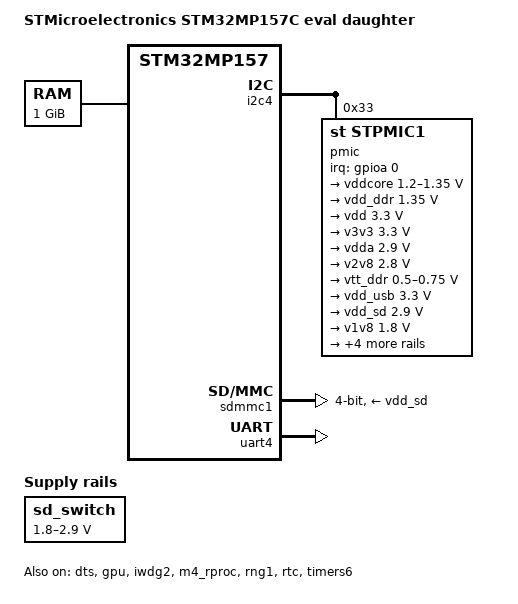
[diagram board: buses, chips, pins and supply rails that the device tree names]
// SPDX-License-Identifier: (GPL-2.0+ OR BSD-3-Clause)
/*
 * Copyright (C) STMicroelectronics 2017 - All Rights Reserved
 * Author: Ludovic Barre <ludovic.barre@st.com> for STMicroelectronics.
 */
/dts-v1/;

#include "stm32mp157c.dtsi"
#include "stm32mp157xaa-pinctrl.dtsi"
#include <dt-bindings/gpio/gpio.h>
#include <dt-bindings/mfd/st,stpmic1.h>

/ {
	model = "STMicroelectronics STM32MP157C eval daughter";
	compatible = "st,stm32mp157c-ed1", "st,stm32mp157";

	chosen {
		stdout-path = "serial0:115200n8";
	};

	memory@c0000000 {
		device_type = "memory";
		reg = <0xC0000000 0x40000000>;
	};

	reserved-memory {
		#address-cells = <1>;
		#size-cells = <1>;
		ranges;

		mcuram2: mcuram2@10000000 {
			compatible = "shared-dma-pool";
			reg = <0x10000000 0x40000>;
			no-map;
		};

		vdev0vring0: vdev0vring0@10040000 {
			compatible = "shared-dma-pool";
			reg = <0x10040000 0x1000>;
			no-map;
		};

		vdev0vring1: vdev0vring1@10041000 {
			compatible = "shared-dma-pool";
			reg = <0x10041000 0x1000>;
			no-map;
		};

		vdev0buffer: vdev0buffer@10042000 {
			compatible = "shared-dma-pool";
			reg = <0x10042000 0x4000>;
			no-map;
		};

		mcuram: mcuram@30000000 {
			compatible = "shared-dma-pool";
			reg = <0x30000000 0x40000>;
			no-map;
		};

		retram: retram@38000000 {
			compatible = "shared-dma-pool";
			reg = <0x38000000 0x10000>;
			no-map;
		};

		gpu_reserved: gpu@e8000000 {
			reg = <0xe8000000 0x8000000>;
			no-map;
		};
	};

	aliases {
		serial0 = &uart4;
	};

	sd_switch: regulator-sd_switch {
		compatible = "regulator-gpio";
		regulator-name = "sd_switch";
		regulator-min-microvolt = <1800000>;
		regulator-max-microvolt = <2900000>;
		regulator-type = "voltage";
		regulator-always-on;

		gpios = <&gpiof 14 GPIO_ACTIVE_HIGH>;
		gpios-states = <0>;
		states = <1800000 0x1>,
			 <2900000 0x0>;
	};
};

&dac {
	pinctrl-names = "default";
	pinctrl-0 = <&dac_ch1_pins_a &dac_ch2_pins_a>;
	vref-supply = <&vdda>;
	status = "disabled";
	dac1: dac@1 {
		status = "okay";
	};
	dac2: dac@2 {
		status = "okay";
	};
};

&dts {
	status = "okay";
};

&gpu {
	contiguous-area = <&gpu_reserved>;
	status = "okay";
};

&i2c4 {
	pinctrl-names = "default";
	pinctrl-0 = <&i2c4_pins_a>;
	i2c-scl-rising-time-ns = <185>;
	i2c-scl-falling-time-ns = <20>;
	status = "okay";
	/* spare dmas for other usage */
	/delete-property/dmas;
	/delete-property/dma-names;

	pmic: stpmic@33 {
		compatible = "st,stpmic1";
		reg = <0x33>;
		interrupts-extended = <&gpioa 0 IRQ_TYPE_EDGE_FALLING>;
		interrupt-controller;
		#interrupt-cells = <2>;
		status = "okay";

		regulators {
			compatible = "st,stpmic1-regulators";
			ldo1-supply = <&v3v3>;
			ldo2-supply = <&v3v3>;
			ldo3-supply = <&vdd_ddr>;
			ldo5-supply = <&v3v3>;
			ldo6-supply = <&v3v3>;
			pwr_sw1-supply = <&bst_out>;
			pwr_sw2-supply = <&bst_out>;

			vddcore: buck1 {
				regulator-name = "vddcore";
				regulator-min-microvolt = <1200000>;
				regulator-max-microvolt = <1350000>;
				regulator-always-on;
				regulator-initial-mode = <0>;
				regulator-over-current-protection;
			};

			vdd_ddr: buck2 {
				regulator-name = "vdd_ddr";
				regulator-min-microvolt = <1350000>;
				regulator-max-microvolt = <1350000>;
				regulator-always-on;
				regulator-initial-mode = <0>;
				regulator-over-current-protection;
			};

			vdd: buck3 {
				regulator-name = "vdd";
				regulator-min-microvolt = <3300000>;
				regulator-max-microvolt = <3300000>;
				regulator-always-on;
				st,mask-reset;
				regulator-initial-mode = <0>;
				regulator-over-current-protection;
			};

			v3v3: buck4 {
				regulator-name = "v3v3";
				regulator-min-microvolt = <3300000>;
				regulator-max-microvolt = <3300000>;
				regulator-always-on;
				regulator-over-current-protection;
				regulator-initial-mode = <0>;
			};

			vdda: ldo1 {
				regulator-name = "vdda";
				regulator-min-microvolt = <2900000>;
				regulator-max-microvolt = <2900000>;
				interrupts = <IT_CURLIM_LDO1 0>;
			};

			v2v8: ldo2 {
				regulator-name = "v2v8";
				regulator-min-microvolt = <2800000>;
				regulator-max-microvolt = <2800000>;
				interrupts = <IT_CURLIM_LDO2 0>;
			};

			vtt_ddr: ldo3 {
				regulator-name = "vtt_ddr";
				regulator-min-microvolt = <500000>;
				regulator-max-microvolt = <750000>;
				regulator-always-on;
				regulator-over-current-protection;
			};

			vdd_usb: ldo4 {
				regulator-name = "vdd_usb";
				regulator-min-microvolt = <3300000>;
				regulator-max-microvolt = <3300000>;
				interrupts = <IT_CURLIM_LDO4 0>;
			};

			vdd_sd: ldo5 {
				regulator-name = "vdd_sd";
				regulator-min-microvolt = <2900000>;
				regulator-max-microvolt = <2900000>;
				interrupts = <IT_CURLIM_LDO5 0>;
				regulator-boot-on;
			};

			v1v8: ldo6 {
				regulator-name = "v1v8";
				regulator-min-microvolt = <1800000>;
				regulator-max-microvolt = <1800000>;
				interrupts = <IT_CURLIM_LDO6 0>;
			};

			vref_ddr: vref_ddr {
				regulator-name = "vref_ddr";
				regulator-always-on;
				regulator-over-current-protection;
			};

			bst_out: boost {
				regulator-name = "bst_out";
				interrupts = <IT_OCP_BOOST 0>;
			};

			vbus_otg: pwr_sw1 {
				regulator-name = "vbus_otg";
				interrupts = <IT_OCP_OTG 0>;
			 };

			 vbus_sw: pwr_sw2 {
				regulator-name = "vbus_sw";
				interrupts = <IT_OCP_SWOUT 0>;
				regulator-active-discharge = <1>;
			 };
		};

		onkey {
			compatible = "st,stpmic1-onkey";
			interrupts = <IT_PONKEY_F 0>, <IT_PONKEY_R 0>;
			interrupt-names = "onkey-falling", "onkey-rising";
			power-off-time-sec = <10>;
			status = "okay";
		};

		watchdog {
			compatible = "st,stpmic1-wdt";
			status = "disabled";
		};
	};
};

&ipcc {
	status = "okay";
};

&iwdg2 {
	timeout-sec = <32>;
	status = "okay";
};

&m4_rproc {
	memory-region = <&retram>, <&mcuram>, <&mcuram2>, <&vdev0vring0>,
			<&vdev0vring1>, <&vdev0buffer>;
	mboxes = <&ipcc 0>, <&ipcc 1>, <&ipcc 2>;
	mbox-names = "vq0", "vq1", "shutdown";
	interrupt-parent = <&exti>;
	interrupts = <68 1>;
	status = "okay";
};

&pwr_regulators {
	vdd-supply = <&vdd>;
	vdd_3v3_usbfs-supply = <&vdd_usb>;
};

&rng1 {
	status = "okay";
};

&rtc {
	status = "okay";
};

&sdmmc1 {
	pinctrl-names = "default", "opendrain", "sleep";
	pinctrl-0 = <&sdmmc1_b4_pins_a &sdmmc1_dir_pins_a>;
	pinctrl-1 = <&sdmmc1_b4_od_pins_a &sdmmc1_dir_pins_a>;
	pinctrl-2 = <&sdmmc1_b4_sleep_pins_a &sdmmc1_dir_sleep_pins_a>;
	broken-cd;
	st,sig-dir;
	st,neg-edge;
	st,use-ckin;
	bus-width = <4>;
	vmmc-supply = <&vdd_sd>;
	vqmmc-supply = <&sd_switch>;
	status = "okay";
};

&timers6 {
	status = "okay";
	/* spare dmas for other usage */
	/delete-property/dmas;
	/delete-property/dma-names;
	timer@5 {
		status = "okay";
	};
};

&uart4 {
	pinctrl-names = "default";
	pinctrl-0 = <&uart4_pins_a>;
	status = "okay";
};

&usbphyc_port0 {
	phy-supply = <&vdd_usb>;
	vdda1v1-supply = <&reg11>;
	vdda1v8-supply = <&reg18>;
};

&usbphyc_port1 {
	phy-supply = <&vdd_usb>;
	vdda1v1-supply = <&reg11>;
	vdda1v8-supply = <&reg18>;
};
